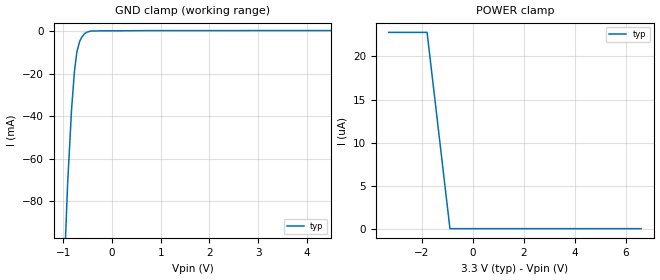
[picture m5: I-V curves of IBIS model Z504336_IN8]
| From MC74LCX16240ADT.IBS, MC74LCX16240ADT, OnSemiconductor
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| (C) COPYRIGHT 1993-2000
| MENTOR GRAPHICS CORPORATION
| ICX STANDARD LIBRARY, ICX PROJECT MODELING,
| ICX CUSTOM MODELING, ICX VENDOR MODEL
| ALL RIGHTS RESERVED.
| THE FOLLOWING ARE TRADEMARKS OR SERVICE MARKS OF
| MENTOR GRAPHICS CORPORATION:ICX (R), ICX STANDARD
| LIBRARY(R), ICX PROJECT MODELING(R), ICX CUSTOM
| MODELING(R), qualityIBIS(TM), MODELVIEWER(TM),
| AND MODELEDITOR(TM)
| ALL COPIES OF SOFTWARE, INCLUDING BUT NOT LIMITED TO
| ANY MODIFICATIONS, ENHANCEMENTS OR DERIVATIVE WORKS,
| MUST CONTAIN ALL MENTOR GRAPHICS CORPORATION'S
| NOTICES AND LEGENDS, INCLUDING THOSE EMBEDDED IN
| SOFTWARE AND THOSE AFFIXED TO SOFTWARE MEDIUM
| AND CONTAINER, AS RECEIVED FROM MENTOR GRAPHICS
| CORPORATION.
| Model Application Version 1.89 2/18/99.
[Model] Z504336_IN8
Model_type Input
Vinl = 800.0mV
Vinh = 2.000V
C_comp 4.000pF NA NA
| variable typ   min   max
[Voltage Range] 3.300V NA NA
[GND Clamp Reference] 0.000V NA NA
[POWER Clamp Reference] 3.300V NA NA
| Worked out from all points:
|   GND clamp passes 1 mA (typ) near -0.55 V on its own axis
[GND Clamp]
-3.3V     -1.798A    NA         NA
-1.093V   -179.8mA   NA         NA
-911.4mV  -72.01mA   NA         NA
-829.1mV  -36.44mA   NA         NA
-770.2mV  -18.85mA   NA         NA
-721.4mV  -9.868mA   NA         NA
-663.3mV  -4.853mA   NA         NA
-625mV    -3.065mA   NA         NA
-531.8mV  -719.2uA   NA         NA
-429.7mV  -8.699uA   NA         NA
-214.8mV  111.4uA    NA         NA
6.6V      221.5uA    NA         NA
[POWER Clamp]
-3.3V     22.8uA     NA         NA
-1.793V   22.8uA     NA         NA
-896.5mV  0A         NA         NA
6.6V      0A         NA         NA
